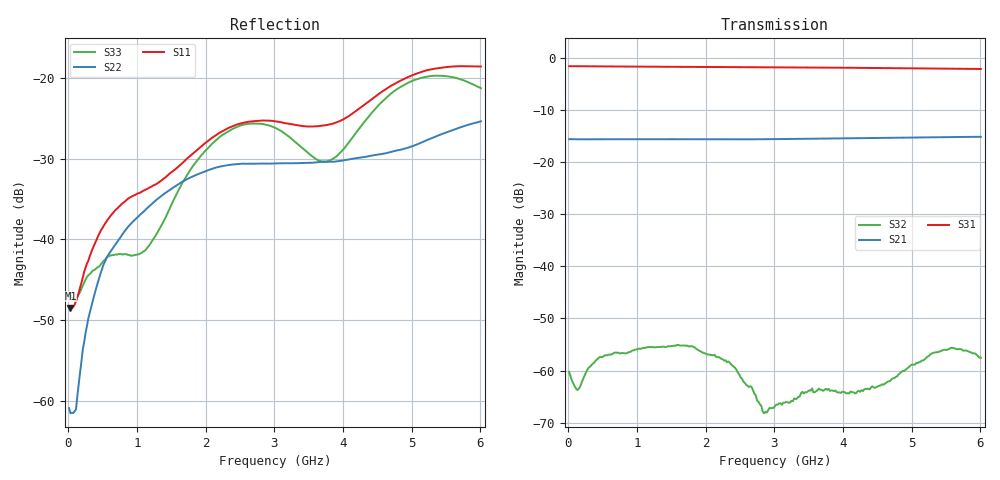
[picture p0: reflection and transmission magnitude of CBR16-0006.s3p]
! MARKI MICROWAVE INC.
! Email:  info@markimicrowave.com  Phone:  408-778-4200
! Model Number:  CBR16-0006  Date:  07/12
! Filename:		CBR16-0006.S3P  Version: 1.0
! Description:  3-port S-parameter data for Bridge Coupler CBR16-0006
! Frequency Range: 	10 MHz to 6 GHz
! Port Configuration:	PORT 1: INPUT, PORT 2: COUPLED and Port 3: Output
! S3P File: Measurements: Mag<S11> Ang<S11> Mag<S12> Ang<S12> Mag<S13> Ang<S13>! row 1
!  Mag<S21> Ang<S21> Mag<S22> Ang<S22> Mag<S23> Ang<S23>! row 2
!  Mag<S31> Ang<S31> Mag<S32> Ang<S32> Mag<S33> Ang<S33>! row 3
# Hz S  dB  R 50
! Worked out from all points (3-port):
!   301 points, 10 MHz to 6.006 GHz, reference 50 ohm
!   strongest paths, dB at 10 MHz, 1.509 GHz, 3.008 GHz, 4.507 GHz, 6.006 GHz:
!     S31: -1.6, -1.7, -1.8, -2.0, -2.1
!     S21: -15.6, -15.6, -15.6, -15.4, -15.2
!     S32: -60.3, -55.3, -66.8, -63.0, -57.5
!   lowest |S11| = -48.5 dB at 29.99 MHz (marker M1), VSWR 1.01, Z = 50.4 + j0.0714 ohm
!   |S11| at or under -10 dB: start of sweep to end of sweep
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1e7  -48.37 16.7  -15.62 -2.0  -1.61 -3.6
     -15.61 -1.9  -60.92 41.2  -62.34 -162.0
     -1.61 -3.6  -60.26 134.5  -46.67 17.1
2.99875e7  -48.50 10.9  -15.62 -2.6  -1.61 -4.8
           -15.62 -2.6  -61.56 23.0  -62.89 -170.6
           -1.61 -4.8  -61.05 140.5  -46.91 13.1
8.294875e8  -35.27 -121.5  -15.63 -49.5  -1.68 -89.6
            -15.63 -49.5  -38.87 -98.7  -56.80 111.6
            -1.68 -89.6  -56.72 109.7  -41.84 -166.4
1.648975e9  -30.64 -160.5  -15.63 -98.5  -1.74 -177.8
            -15.62 -98.5  -32.91 -147.7  -55.66 7.2
            -1.74 -177.7  -55.21 6.6  -33.17 -6.2
2.368525e9  -26.07 152.1  -15.65 -141.4  -1.79 104.9
            -15.65 -141.4  -30.75 171.5  -58.92 -109.8
            -1.79 105.0  -58.83 -110.0  -26.43 -105.4
3.008125e9  -25.37 101.4  -15.61 -179.2  -1.83 36.2
            -15.61 -179.3  -30.60 133.6  -66.91 -148.9
            -1.83 36.2  -66.81 -155.7  -26.18 177.0
3.547788e9  -26.02 70.5  -15.53 148.5  -1.87 -21.9
            -15.53 148.5  -30.51 96.3  -63.37 169.8
            -1.87 -21.8  -63.44 174.1  -29.71 90.7
4.207375e9  -23.96 47.1  -15.44 108.8  -1.93 -92.8
            -15.43 108.7  -29.93 45.2  -64.65 121.2
            -1.93 -92.8  -64.01 117.7  -26.56 -53.3
5.066838e9  -19.48 -10.5  -15.29 56.5  -2.04 174.7
            -15.29 56.5  -28.27 -23.7  -58.89 66.4
            -2.04 174.8  -58.54 65.4  -20.17 -168.3
6.00625e9  -18.59 -72.4  -15.16 -1.4  -2.14 74.0
           -15.17 -1.4  -25.38 -88.7  -57.39 -40.7
           -2.15 74.0  -57.54 -41.0  -21.27 66.2
